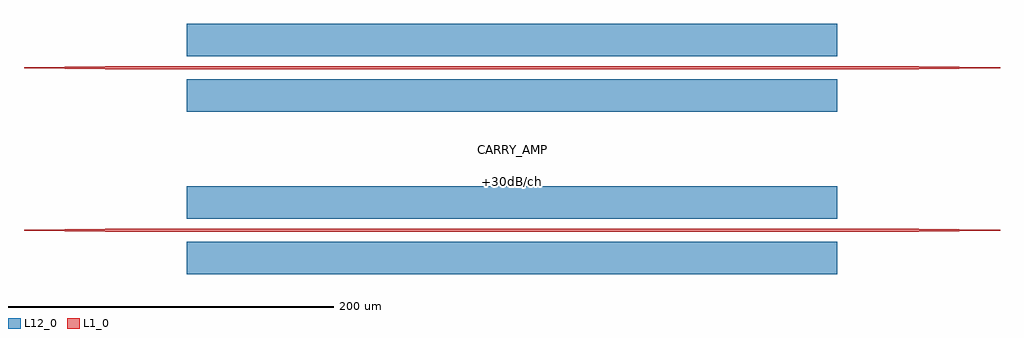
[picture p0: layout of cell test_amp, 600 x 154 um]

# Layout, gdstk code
import gdstk
lib = gdstk.Library(unit=1e-6, precision=1e-09)
def R(c, l, rs):  # rectangles x0, y0, x1, y1
    for r in rs: c.add(gdstk.rectangle(r[:2], r[2:], *l))
def P(c, l, *ps):  # polygons
    for p in ps: c.add(gdstk.Polygon(p, *l))
L1_0 = (1, 0)
L12_0 = (12, 0)

taper_gdsfactorypcompone = lib.new_cell('taper_gdsfactorypcomponentsptapersptaper_L50_W0p5_W2_LN_f238c4d7')
P(taper_gdsfactorypcompone, L1_0, [(50,-1),(0,-0.25),(0,0.25),(50,1)])

straight_gdsfactorypcomp = lib.new_cell('straight_gdsfactorypcomponentspwaveguidespstraight_L500_878fba4d')
R(straight_gdsfactorypcomp, L1_0, [(0,-1,500,1)])

c_taper_gdsfactorypcompone = lib.new_cell('taper_gdsfactorypcomponentsptapersptaper_L50_W2_W0p5_LN_1dc0c86b')
P(c_taper_gdsfactorypcompone, L1_0, [(0,-1),(0,1),(50,0.25),(50,-0.25)])

test_amp_soa_pos = lib.new_cell('test_amp_soa_pos')
R(test_amp_soa_pos, L12_0, [(100,-27,500,-7), (100,7,500,27)])
test_amp_soa_pos.add(gdstk.Reference(taper_gdsfactorypcompone, (0,0)))
test_amp_soa_pos.add(gdstk.Reference(straight_gdsfactorypcomp, (50,0)))
test_amp_soa_pos.add(gdstk.Reference(c_taper_gdsfactorypcompone, (550,0)))
test_amp_soa_pos.add(gdstk.Label('SOA', (300,32), layer=100, texttype=0))
test_amp_soa_pos.add(gdstk.Label('+30dB', (300,-32), layer=100, texttype=0))

test_amp_soa_neg = lib.new_cell('test_amp_soa_neg')
R(test_amp_soa_neg, L12_0, [(100,-27,500,-7), (100,7,500,27)])
test_amp_soa_neg.add(gdstk.Reference(taper_gdsfactorypcompone, (0,0)))
test_amp_soa_neg.add(gdstk.Reference(straight_gdsfactorypcomp, (50,0)))
test_amp_soa_neg.add(gdstk.Reference(c_taper_gdsfactorypcompone, (550,0)))
test_amp_soa_neg.add(gdstk.Label('SOA', (300,32), layer=100, texttype=0))
test_amp_soa_neg.add(gdstk.Label('+30dB', (300,-32), layer=100, texttype=0))

test_amp = lib.new_cell('test_amp')
test_amp.add(gdstk.Reference(test_amp_soa_pos, (0,50)))
test_amp.add(gdstk.Reference(test_amp_soa_neg, (0,-50)))
test_amp.add(gdstk.Label('CARRY_AMP', (300,0), layer=100, texttype=0))
test_amp.add(gdstk.Label('+30dB/ch', (300,-20), layer=100, texttype=0))

lib.write_gds('test_amp.gds')
